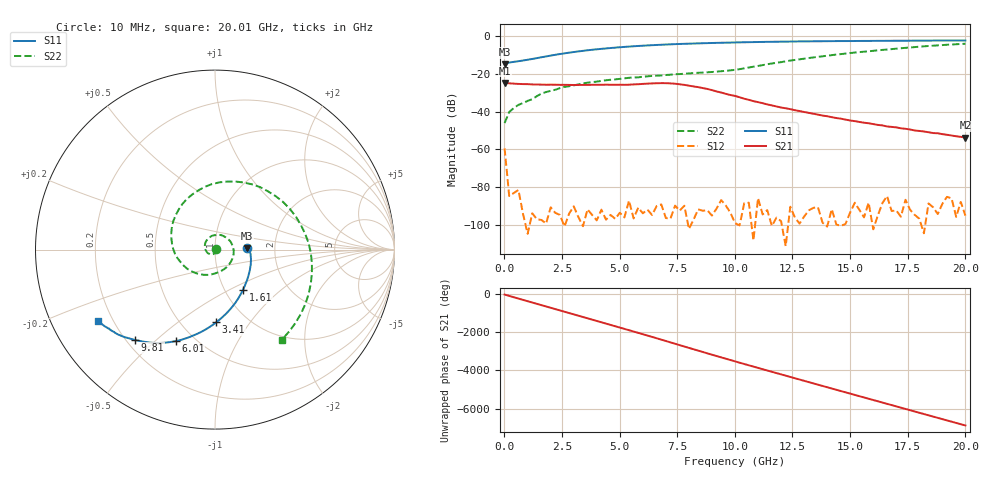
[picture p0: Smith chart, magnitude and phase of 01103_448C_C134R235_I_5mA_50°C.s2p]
!;Filter: kein Filter
!auto
!3/21/2019 9:27:39 AM
!3/21/2019 9:27:53 AM
!SP-Measurements Prober G4
!SP-Measurements Prober G4
!01103_448C
!134
!235
!12
!50
!-20
!0.00499992
!1.96
!0.64375220
!0.64375220
# Hz S  RI  R 50
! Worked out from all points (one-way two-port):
!   101 points, 10 MHz to 20.01 GHz, reference 50 ohm
!   highest |S21| = -24.78 dB at 10 MHz (marker M1); lowest = -53.7 dB at 20.01 GHz (marker M2)
!   lowest |S11| = -15.0 dB at 10 MHz (marker M3), VSWR 1.43, Z = 71.7 + j1.04 ohm
!   |S11| at or under -10 dB: start of sweep to 2.179 GHz
!   |S22| runs from -46.0 to -4.1 dB; largest |S21 - S12| = 0.057
!   S11 on the Smith chart (normalised r, x): 10 MHz: 1.43, +0.02; 1.61 GHz: 1.21, -0.59; 3.41 GHz: 0.73, -0.70; 6.01 GHz: 0.40, -0.58; 9.81 GHz: 0.23, -0.43; 20.01 GHz: 0.15, -0.28
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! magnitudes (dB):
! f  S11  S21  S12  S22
! 10 MHz  -15.0  -24.8  -59.5  -46.0
! 210 MHz  -14.0  -25.0  -84.7  -40.2
! 410 MHz  -13.7  -25.2  -83.1  -38.1
! 610 MHz  -13.3  -25.3  -81.5  -36.4
! 1.21 GHz  -12.1  -25.6  -93.8  -33.5
! 1.61 GHz  -11.2  -25.7  -97.4  -30.4
! 2.61 GHz  -9.2  -25.8  -100.8  -26.9
! 3.41 GHz  -7.8  -25.9  -100.7  -25.1
! 5.21 GHz  -5.8  -25.8  -96.0  -22.4
! 6.01 GHz  -5.1  -25.3  -93.8  -21.5
! 6.81 GHz  -4.6  -24.9  -89.1  -20.9
! 7.41 GHz  -4.3  -25.2  -89.8  -20.2
! 8.41 GHz  -3.9  -27.0  -91.8  -19.4
! 8.81 GHz  -3.7  -28.0  -92.2  -19.2
! 9.81 GHz  -3.5  -31.2  -93.5  -18.2
! 10.01 GHz  -3.4  -31.7  -99.0  -17.9
! 11.41 GHz  -3.1  -36.2  -92.2  -14.9
! 13.41 GHz  -2.8  -41.1  -90.9  -11.3
! 15.01 GHz  -2.7  -44.7  -93.3  -9.0
! 16.81 GHz  -2.5  -48.1  -92.7  -6.9
! 18.21 GHz  -2.4  -50.5  -104.4  -5.5
! 20.01 GHz  -2.4  -53.7  -95.1  -4.1
